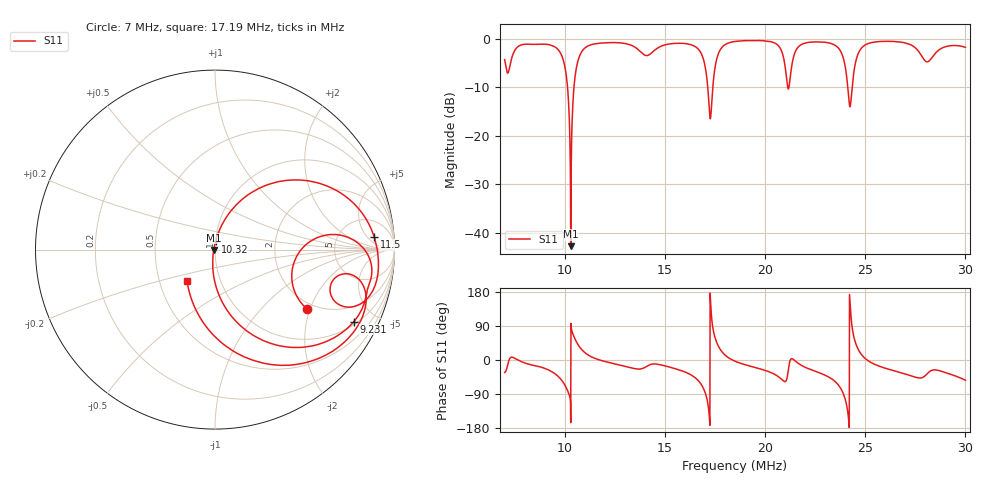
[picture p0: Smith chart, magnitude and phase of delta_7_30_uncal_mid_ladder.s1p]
! Touchstone file generated by AntScope2
# MHz Z RI R 50
! Format: Frequency Z-real Z-imaginary (normalized to 50 Ohm)
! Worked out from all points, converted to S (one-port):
!   2001 points, 7 MHz to 30 MHz, reference 50 ohm
!   lowest |S11| = -42.8 dB at 10.3 MHz (marker M1), VSWR 1.01, Z = 49.3 - j0.18 ohm
!   |S11| at or under -10 dB: 10.14 MHz to 10.46 MHz (320.1 kHz wide, 3.11 % of centre); 17.14 MHz to 17.39 MHz (251.2 kHz wide, 1.45 % of centre); 24.13 MHz to 24.35 MHz (217.8 kHz wide, 0.899 % of centre)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
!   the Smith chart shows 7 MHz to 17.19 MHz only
!   S11 on the Smith chart (normalised r, x): 7 MHz: 1.81, -1.92; 9.231 MHz: 1.13, -3.79; 10.32 MHz: 1.00, +0.09; 11.5 MHz: 12, +8; 17.19 MHz: 0.69, -0.25
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7  1.807 -1.919
7.414  4.998 1.577
9.231  1.135 -3.787
9.875  0.8362 -1.572
10.3005  0.986 -0.0036
10.3235  1.002 0.0914
10.657  1.418 1.688
11.4965  11.7 7.941
12.75  2.924 -7.352
13.992  2.939 -2.534
15.625  1.062 -4.329
16.7865  0.5552 -1.508
17.189  0.6918 -0.2532
17.5685  1.124 1.579
17.925  2.844 5.116
18.5  18.03 -16.61
20.7195  0.5904 -2.21
21.0875  1.31 -0.8568
21.375  3.862 0.352
22.318  0.7028 -4.207
23.652  0.3506 -1.499
23.951  0.4552 -0.8052
24.25  0.6998 0.17
24.503  1.242 1.468
25.009  11.94 5.267
27.125  0.4874 -2.748
28.3555  2.209 -2.256
30  0.4724 -1.895
